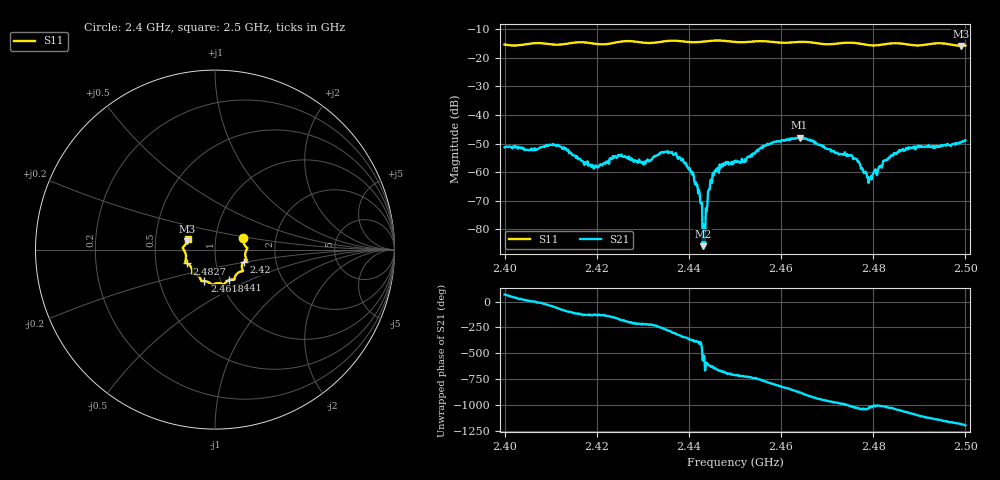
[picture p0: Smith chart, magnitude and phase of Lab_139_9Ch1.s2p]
# Hz S RI R 50
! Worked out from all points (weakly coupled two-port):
!   601 points, 2.4 GHz to 2.5 GHz, reference 50 ohm
!   highest |S21| = -47.92 dB at 2.464 GHz (marker M1); lowest = -85.8 dB at 2.443 GHz (marker M2)
!   lowest |S11| = -15.8 dB at 2.499 GHz (marker M3), VSWR 1.39, Z = 36.4 + j3.46 ohm
!   |S11| at or under -10 dB: start of sweep to end of sweep
!   S12 and S22 are empty: the file has one direction only
!   S11 on the Smith chart (normalised r, x): 2.4 GHz: 1.36, +0.18; 2.42 GHz: 1.36, -0.20; 2.441 GHz: 1.10, -0.39; 2.4618 GHz: 0.84, -0.30; 2.4827 GHz: 0.72, -0.12; 2.5 GHz: 0.73, +0.09
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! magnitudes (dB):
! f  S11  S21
! 2.4 GHz  -15.4  -51.3
! 2.411 GHz  -15.4  -50.6
! 2.4167 GHz  -14.6  -56.0
! 2.42 GHz  -15.2  -58.2
! 2.4333 GHz  -14.5  -54.0
! 2.4368 GHz  -14.0  -53.7
! 2.441 GHz  -14.6  -60.7
! 2.4423 GHz  -14.5  -67.4
! 2.443 GHz  -14.4  -85.8
! 2.4435 GHz  -14.3  -85.5
! 2.4447 GHz  -14.0  -62.7
! 2.4457 GHz  -13.9  -60.0
! 2.45 GHz  -14.4  -56.2
! 2.4618 GHz  -14.7  -48.2
! 2.464 GHz  -14.4  -47.9
! 2.4667 GHz  -14.6  -49.0
! 2.4755 GHz  -14.7  -54.6
! 2.4792 GHz  -15.6  -62.3
! 2.4827 GHz  -15.2  -55.9
! 2.4833 GHz  -15.0  -54.9
! 2.499 GHz  -15.8  -49.6
! 2.5 GHz  -15.7  -48.8
